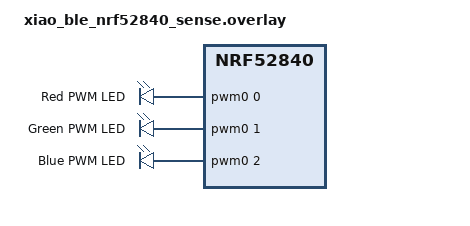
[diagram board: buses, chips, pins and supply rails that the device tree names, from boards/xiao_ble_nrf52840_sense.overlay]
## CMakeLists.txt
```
cmake_minimum_required(VERSION 3.20.0)

list(APPEND DTC_OVERLAY_FILE app.overlay)

find_package(Zephyr REQUIRED)
project(my_zephyr_app)

target_sources(app PRIVATE
    src/main.c
    drivers/led_sensor/led_sensor.c
)
target_include_directories(app PRIVATE drivers/led_sensor)
```

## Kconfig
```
source "Kconfig.zephyr"

rsource "drivers/led_sensor/Kconfig"

config APP_HEARTBEAT_PERIOD_MS
	int "Heartbeat LED period (ms)"
	default 500
	range 100 2000
	help
	  Blink period for the heartbeat LED in milliseconds.

menuconfig LED_SUBSYSTEM
	bool "LED Subsystem"
	default n
	help
	  Enable the LED subsystem.

if LED_SUBSYSTEM

choice LED_BLINK_SLEEP
	prompt "LED blink sleep time"
	default LED_BLINK_SLEEP_1S
	help
	  Select the LED blink sleep time.

config LED_BLINK_SLEEP_250MS
	bool "250ms (fast)"

config LED_BLINK_SLEEP_500MS
	bool "500ms (slow)"

config LED_BLINK_SLEEP_1S
	bool "1s (medium)"

config LED_BLINK_SLEEP_2S
	bool "2s (very slow)"

endchoice

config LED_BLINK_SLEEP_MS
	int
	default 250 if LED_BLINK_SLEEP_250MS
	default 500 if LED_BLINK_SLEEP_500MS
	default 1000 if LED_BLINK_SLEEP_1S
	default 2000 if LED_BLINK_SLEEP_2S

menuconfig LED_ADVANCED
	bool "Advanced LED settings"
	default n
	help
	  Enable advanced LED configuration options.

if LED_ADVANCED

config LED_BRIGHTNESS
	int "LED brightness (0-100)"
	default 100
	range 0 100
	help
	  Set the LED brightness level (0 = off, 100 = full brightness).

config LED_FADE_DURATION
	int "LED fade duration (ms)"
	default 500
	range 0 5000
	help
	  Set the LED fade duration in milliseconds.

menu "Expert settings"
	visible if LED_ADVANCED

config LED_DEBUG
	bool "Enable LED debugging"
	default n
	help
	  Enable debug output for the LED subsystem.

config LED_CUSTOM_BLINK
	bool "Custom blink pattern"
	default n
	help
	  Enable custom blink pattern support.

endmenu

endif # LED_ADVANCED

endif # LED_SUBSYSTEM
```

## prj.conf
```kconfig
CONFIG_GPIO=y
CONFIG_PWM=y
CONFIG_LOG=y
CONFIG_SENSOR=y
CONFIG_LED_SENSOR=y

CONFIG_LED_SUBSYSTEM=y
CONFIG_LED_BLINK_SLEEP_1S=y
CONFIG_LED_ADVANCED=y
CONFIG_LED_BRIGHTNESS=100
CONFIG_LED_FADE_DURATION=300
```

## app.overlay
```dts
/ {
	aliases {
		app-led = &led0;
	};

	led_sensor0: led_sensor {
		compatible = "jjateen,led-sensor";
		gpios = <&gpio0 26 GPIO_ACTIVE_LOW>;
		status = "okay";
	};
};
```

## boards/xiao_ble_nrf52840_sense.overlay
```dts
/*
 * Remap PWM0 channels 0-2 to the onboard RGB LED pins:
 *   CH0 -> P0.26 (Red)
 *   CH1 -> P0.30 (Green)
 *   CH2 -> P0.06 (Blue)
 */
&pwm0_default {
	group1 {
		psels = <NRF_PSEL(PWM_OUT0, 0, 26)>,
		        <NRF_PSEL(PWM_OUT1, 0, 30)>,
		        <NRF_PSEL(PWM_OUT2, 0, 6)>;
		nordic,invert;
	};
};

&pwm0_sleep {
	group1 {
		psels = <NRF_PSEL(PWM_OUT0, 0, 26)>,
		        <NRF_PSEL(PWM_OUT1, 0, 30)>,
		        <NRF_PSEL(PWM_OUT2, 0, 6)>;
		low-power-enable;
	};
};

/ {
	pwmleds {
		compatible = "pwm-leds";
		pwm_led0: pwm_led_0 {
			pwms = <&pwm0 0 PWM_MSEC(20) PWM_POLARITY_INVERTED>;
			label = "Red PWM LED";
		};
		pwm_led1: pwm_led_1 {
			pwms = <&pwm0 1 PWM_MSEC(20) PWM_POLARITY_INVERTED>;
			label = "Green PWM LED";
		};
		pwm_led2: pwm_led_2 {
			pwms = <&pwm0 2 PWM_MSEC(20) PWM_POLARITY_INVERTED>;
			label = "Blue PWM LED";
		};
	};

	aliases {
		pwm-led0 = &pwm_led0;
		pwm-led1 = &pwm_led1;
		pwm-led2 = &pwm_led2;
	};
};
```

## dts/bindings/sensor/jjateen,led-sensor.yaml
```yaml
description: LED-based sensor — sample_fetch turns the LED on, channel_get turns it off.

compatible: "jjateen,led-sensor"

include: base.yaml

properties:
  gpios:
    type: phandle-array
    required: true
    description: GPIO controlling the LED
```

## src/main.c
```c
#include <zephyr/device.h>
#include <zephyr/drivers/sensor.h>
#include <zephyr/kernel.h>
#include <zephyr/logging/log.h>

#include "led_sensor.h"

LOG_MODULE_REGISTER(main, LOG_LEVEL_INF);

#define LED_SENSOR_NODE DT_NODELABEL(led_sensor0)
static const struct device *led_dev = DEVICE_DT_GET(LED_SENSOR_NODE);

int main(void)
{
	if (!device_is_ready(led_dev)) {
		LOG_ERR("LED sensor not ready");
		return -1;
	}

	LOG_INF("LED sensor ready: %s", led_dev->name);

	while (1) {
		struct sensor_value val;

		sensor_sample_fetch(led_dev);
		k_msleep(CONFIG_APP_HEARTBEAT_PERIOD_MS);

		sensor_channel_get(led_dev, SENSOR_CHAN_PROX, &val);
		k_msleep(CONFIG_APP_HEARTBEAT_PERIOD_MS);

		LOG_INF("LED state was: %d", val.val1);
	}

	return 0;
}
```

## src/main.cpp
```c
#include <zephyr/drivers/pwm.h>
#include <zephyr/kernel.h>
#include <zephyr/logging/log.h>

LOG_MODULE_REGISTER(main, LOG_LEVEL_INF);

static const struct pwm_dt_spec leds[] = {
	PWM_DT_SPEC_GET(DT_ALIAS(pwm_led0)),  /* Red   */
	PWM_DT_SPEC_GET(DT_ALIAS(pwm_led1)),  /* Green */
	PWM_DT_SPEC_GET(DT_ALIAS(pwm_led2)),  /* Blue  */
};
static const char *const color_names[] = { "RED", "GREEN", "BLUE" };

static void set_brightness(const struct pwm_dt_spec *led, int percent)
{
	uint32_t pulse = (uint32_t)((uint64_t)led->period * percent / 100);
	pwm_set_pulse_dt(led, pulse);
}

static void all_off(void)
{
	for (int i = 0; i < 3; i++) {
		set_brightness(&leds[i], 0);
	}
}

int main(void)
{
	for (int i = 0; i < 3; i++) {
		if (!pwm_is_ready_dt(&leds[i])) {
			LOG_ERR("PWM led%d not ready", i);
			return 0;
		}
	}

	const int fade_steps   = 50;
	const int fade_step_ms = CONFIG_LED_FADE_DURATION / fade_steps;
	int color = 0;

	while (1) {
		all_off();

		/* Fade in current color */
		for (int i = 0; i <= fade_steps; i++) {
			int level = CONFIG_LED_BRIGHTNESS * i / fade_steps;
			set_brightness(&leds[color], level);
			k_msleep(fade_step_ms);
		}

		LOG_INF("%s ON at %d%%", color_names[color], CONFIG_LED_BRIGHTNESS);
		k_msleep(CONFIG_LED_BLINK_SLEEP_MS);

		/* Fade out */
		for (int i = fade_steps; i >= 0; i--) {
			int level = CONFIG_LED_BRIGHTNESS * i / fade_steps;
			set_brightness(&leds[color], level);
			k_msleep(fade_step_ms);
		}

		LOG_INF("%s OFF", color_names[color]);

		color = (color + 1) % 3;  /* Red -> Green -> Blue -> Red */
	}

	return 0;
}
```

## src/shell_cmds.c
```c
#include <zephyr/device.h>
#include <zephyr/drivers/sensor.h>
#include <zephyr/shell/shell.h>

#include "led_sensor.h"

#define LED_SENSOR_NODE DT_NODELABEL(led_sensor0)

static const struct device *get_dev(void)
{
	return DEVICE_DT_GET(LED_SENSOR_NODE);
}

static int cmd_fetch(const struct shell *sh, size_t argc, char **argv)
{
	ARG_UNUSED(argc);
	ARG_UNUSED(argv);

	int ret = sensor_sample_fetch(get_dev());

	if (ret) {
		shell_error(sh, "sensor_sample_fetch failed: %d", ret);
	} else {
		shell_print(sh, "fetch ok (LED ON)");
	}
	return ret;
}

static int cmd_read(const struct shell *sh, size_t argc, char **argv)
{
	ARG_UNUSED(argc);
	ARG_UNUSED(argv);

	struct sensor_value val;
	int ret = sensor_channel_get(get_dev(), SENSOR_CHAN_PROX, &val);

	if (ret) {
		shell_error(sh, "sensor_channel_get failed: %d", ret);
	} else {
		shell_print(sh, "LED state: %d (LED OFF)", val.val1);
	}
	return ret;
}

static int cmd_info(const struct shell *sh, size_t argc, char **argv)
{
	ARG_UNUSED(argc);
	ARG_UNUSED(argv);

	const struct device *dev = get_dev();

	shell_print(sh, "device : %s", dev->name);
	shell_print(sh, "ready  : %s", device_is_ready(dev) ? "yes" : "no");
	shell_print(sh, "rate   : %u ms", led_sensor_get_blink_rate(dev));
	return 0;
}

/* L7T2: set blink_rate_ms via extension API */
static int cmd_set(const struct shell *sh, size_t argc, char **argv)
{
	if (argc < 2) {
		shell_error(sh, "usage: sensor set <rate_ms>");
		return -EINVAL;
	}

	char *end;
	long rate_ms = strtol(argv[1], &end, 10);

	if (*end != '\0' || rate_ms < 100 || rate_ms > 10000) {
		shell_error(sh, "rate_ms must be in range [100, 10000]");
		return -EINVAL;
	}

	int ret = led_sensor_set_blink_rate(get_dev(), (uint32_t)rate_ms);

	if (ret) {
		shell_error(sh, "set_blink_rate failed: %d", ret);
	} else {
		shell_print(sh, "blink_rate set to %ld ms", rate_ms);
	}
	return ret;
}

SHELL_STATIC_SUBCMD_SET_CREATE(sensor_subcmds,
	SHELL_CMD(fetch, NULL, "Call sensor_sample_fetch() — turns LED on", cmd_fetch),
	SHELL_CMD(read,  NULL, "Call sensor_channel_get() — prints state, turns LED off", cmd_read),
	SHELL_CMD(info,  NULL, "Print device name, ready state, and blink rate", cmd_info),
	SHELL_CMD_ARG(set, NULL, "Set blink_rate_ms <100-10000>", cmd_set, 2, 0),
	SHELL_SUBCMD_SET_END
);

SHELL_CMD_REGISTER(sensor, &sensor_subcmds, "LED sensor shell commands", NULL);
```
